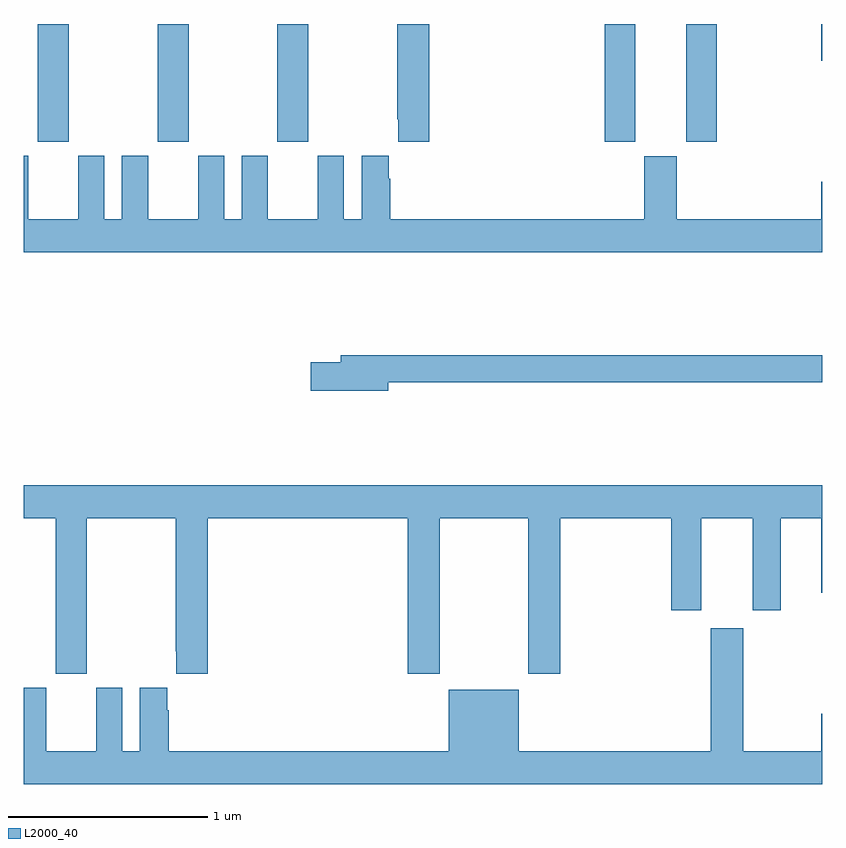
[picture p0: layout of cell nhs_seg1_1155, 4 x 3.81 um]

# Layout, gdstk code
import gdstk
lib = gdstk.Library(unit=1e-6, precision=1e-09)
def R(c, l, rs):  # rectangles x0, y0, x1, y1
    for r in rs: c.add(gdstk.rectangle(r[:2], r[2:], *l))
def A(c, l, x, y, w, h, nx, ny, dx, dy):  # array of equal rectangles
    R(c, l, [(x+i*dx, y+j*dy, x+i*dx+w, y+j*dy+h) for i in range(nx) for j in range(ny)])
def P(c, l, *ps):  # polygons
    for p in ps: c.add(gdstk.Polygon(p, *l))
L2000_40 = (2000, 40)

nhs_seg1_1155 = lib.new_cell('nhs_seg1_1155')
A(nhs_seg1_1155, L2000_40, 173.071, 561.609, 0.155, 0.59, 3, 1, 0.6, 0)
R(nhs_seg1_1155, L2000_40, [(175.91,561.609,176.062,562.199), (176.318,561.609,176.471,562.199), (176.996,562.014,177,562.199)])
P(nhs_seg1_1155, L2000_40, [(175.031,562.199),(174.871,562.199),(174.871,561.721),(174.875,561.721),(174.875,561.609),(175.031,561.609)],
  [(177,561.409),(176.996,561.409),(176.996,561.22),(176.272,561.22),(176.272,561.537),(176.108,561.537),(176.108,561.22),(174.836,561.22),(174.836,561.425),(174.829,561.425),(174.829,561.538),(174.692,561.538),(174.692,561.22),(174.604,561.22),(174.604,561.538),(174.473,561.538),(174.473,561.22),(174.223,561.22),(174.223,561.538),(174.092,561.538),(174.092,561.22),(174.004,561.22),(174.004,561.538),(173.873,561.538),(173.873,561.22),(173.623,561.22),(173.623,561.538),(173.492,561.538),(173.492,561.22),(173.404,561.22),(173.404,561.538),(173.273,561.538),(173.273,561.22),(173.023,561.22),(173.023,561.538),(173,561.538),(173,561.056),(177,561.056)],
  [(174.826,560.404),(177,560.404),(177,560.54),(174.587,560.54),(174.587,560.504),(174.438,560.504),(174.438,560.362),(174.826,560.362)],
  [(173.316,559.724),(173.761,559.724),(173.761,559.057),(173.765,559.057),(173.765,558.945),(173.921,558.945),(173.921,559.724),(174.923,559.724),(174.923,558.945),(175.083,558.945),(175.083,559.724),(175.528,559.724),(175.528,558.945),(175.688,558.945),(175.688,559.724),(176.243,559.724),(176.243,559.263),(176.395,559.263),(176.395,559.724),(176.651,559.724),(176.651,559.263),(176.791,559.263),(176.791,559.724),(176.996,559.724),(176.996,559.35),(177,559.35),(177,559.888),(173,559.888),(173,559.724),(173.161,559.724),(173.161,558.945),(173.316,558.945)],
  [(177,558.745),(176.996,558.745),(176.996,558.556),(176.605,558.556),(176.605,559.171),(176.441,559.171),(176.441,558.556),(175.48,558.556),(175.48,558.865),(175.13,558.865),(175.13,558.556),(173.726,558.556),(173.726,558.761),(173.719,558.761),(173.719,558.874),(173.582,558.874),(173.582,558.556),(173.494,558.556),(173.494,558.874),(173.363,558.874),(173.363,558.556),(173.113,558.556),(173.113,558.874),(173,558.874),(173,558.392),(177,558.392)])

lib.write_gds('nhs_seg1_1155.gds')
